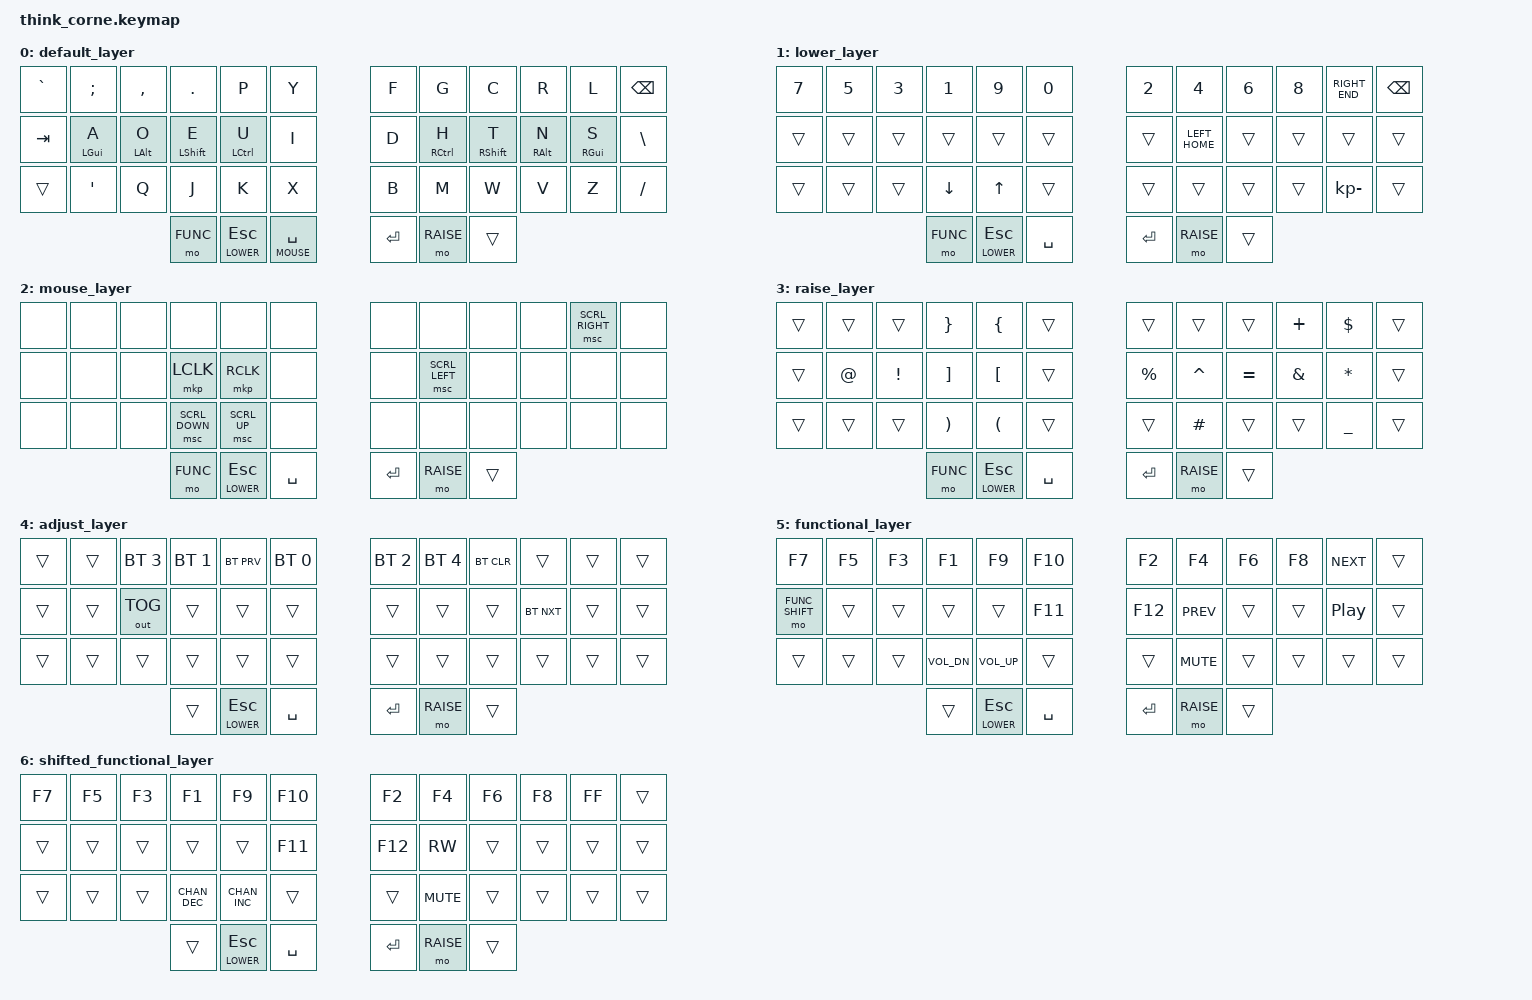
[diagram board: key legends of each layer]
/*
 * Copyright (c) 2020 The ZMK Contributors
 *
 * SPDX-License-Identifier: MIT
 */

#include <behaviors.dtsi>
#include <dt-bindings/zmk/keys.h>
#include <dt-bindings/zmk/bt.h>
#include <dt-bindings/zmk/rgb.h>
#include <dt-bindings/zmk/ext_power.h>
#include <dt-bindings/zmk/outputs.h>

/* Layers */
#define DEFAULT       0
#define LOWER         1
#define MOUSE         2
#define RAISE         3
#define ADJUST        4
#define FUNC          5
#define FUNC_SHIFT    6

/* Layer active when mouse is active? */
#define MOUSE_TP DEFAULT

/* Enable keymap features that require forks */
#define HAS_UROB
#define HAS_MOUSE_KEYS
#define HAS_MOUSE_TP
// #define HAS_CAPSLOCK

// Personal includes
#ifdef HAS_MOUSE_KEYS
     #include "includes/mouse_keys.dtsi"
#endif

#ifdef HAS_MOUSE_TP
     #include "includes/mouse_tp.dtsi"
#endif

/ {
         conditional_layers {
            compatible = "zmk,conditional-layers";
            tri_layer {
               if-layers = <LOWER RAISE>;
               then-layer = <ADJUST>;
            };
        };

        behaviors {
                hm: homerow_mods {
                    compatible = "zmk,behavior-hold-tap";
                    #binding-cells = <2>;
                    tapping-term-ms = <150>;
                    quick-tap-ms = <0>;
                    flavor = "tap-preferred";
                    bindings = <&kp>, <&kp>;
                };
                LEFT_HOME: tap_dance_left_home {
                    compatible = "zmk,behavior-tap-dance";
                    #binding-cells = <0>;
                    tapping-term-ms = <130>;
                    bindings = <&kp LEFT>, <&kp HOME>;
                };
                RIGHT_END: tap_dance_right_end {
                    compatible = "zmk,behavior-tap-dance";
                    #binding-cells = <0>;
                    tapping-term-ms = <130>;
                    bindings = <&kp RIGHT>, <&kp END>;
                };
        };

        keymap {
                compatible = "zmk,keymap";

                default_layer {
                        bindings = <
   &kp GRAVE  &kp SEMI   &kp COMMA  &kp PERIOD  &kp P       &kp Y                            &kp F       &kp G       &kp C       &kp R      &kp L      &kp BSPC
   &kp TAB    &hm LGUI A &hm LALT O &hm LSHFT E &hm LCTRL U &kp I                            &kp D       &hm RCTRL H &hm RSHFT T &hm RALT N &hm RGUI S &kp BSLH
   &trans     &kp SQT    &kp Q      &kp J       &kp K       &kp X                            &kp B       &kp M       &kp W       &kp V      &kp Z      &kp FSLH
                                                &mo FUNC    &lt LOWER ESC  &lt MOUSE SPACE   &kp RET     &mo RAISE   &trans
                        >;
                };
                lower_layer {
                        bindings = <
   &kp N7    &kp N5    &kp N3    &kp N1       &kp N9        &kp N0       &kp N2     &kp N4     &kp N6    &kp N8    &RIGHT_END   &kp BSPC
   &trans    &trans    &trans    &trans       &trans        &trans       &trans     &LEFT_HOME &trans    &trans    &trans       &trans
   &trans    &trans    &trans    &kp DOWN     &kp UP        &trans       &trans     &trans     &trans    &trans    &kp KP_MINUS &trans
                                 &mo FUNC     &lt LOWER ESC &kp SPACE    &kp RET    &mo RAISE  &trans
                        >;
                };
                mouse_layer {
                        bindings = <
   &none    &none    &none    &none           &none         &none      &none     &none             &none    &none    &msc SCRL_RIGHT  &none
   &none    &none    &none    &mkp LCLK       &mkp RCLK     &none      &none     &msc SCRL_LEFT    &none    &none    &none            &none
   &none    &none    &none    &msc SCRL_DOWN  &msc SCRL_UP  &none      &none     &none             &none    &none    &none            &none
                              &mo FUNC        &lt LOWER ESC &kp SPACE  &kp RET   &mo RAISE         &trans
                        >;
                };
                raise_layer {
                        bindings = <
   &trans &trans &trans   &kp RBRC &kp LBRC      &trans      &trans    &trans    &trans    &kp PLUS &kp DLLR  &trans
   &trans &kp AT &kp EXCL &kp RBKT &kp LBKT      &trans      &kp PRCNT &kp CARET &kp EQUAL &kp AMPS &kp ASTRK &trans
   &trans &trans &trans   &kp RPAR &kp LPAR      &trans      &trans    &kp HASH  &trans    &trans   &kp UNDER &trans
                          &mo FUNC &lt LOWER ESC &kp SPACE   &kp RET   &mo RAISE &trans
                        >;
                };
                adjust_layer {
                        bindings = <
   &trans &trans &bt BT_SEL 3 &bt BT_SEL 1 &bt BT_PRV    &bt BT_SEL 0      &bt BT_SEL 2 &bt BT_SEL 4 &bt BT_CLR &trans     &trans  &trans
   &trans &trans &out OUT_TOG &trans       &trans        &trans            &trans       &trans       &trans     &bt BT_NXT &trans  &trans
   &trans &trans &trans       &trans       &trans        &trans            &trans       &trans       &trans     &trans     &trans  &trans
                              &trans       &lt LOWER ESC &kp SPACE         &kp RET      &mo RAISE    &trans
                        >;
                };
                functional_layer {
                        bindings = <
   &kp F7         &kp F5 &kp F3 &kp F1         &kp F9        &kp F10     &kp F2    &kp F4      &kp F6 &kp F8 &kp C_NEXT &trans
   &mo FUNC_SHIFT &trans &trans &trans         &trans        &kp F11     &kp F12   &kp C_PREV  &trans &trans &kp C_PP   &trans
   &trans         &trans &trans &kp C_VOL_DN   &kp C_VOL_UP  &trans      &trans    &kp C_MUTE  &trans &trans &trans     &trans
                         &trans &lt LOWER ESC  &kp SPACE     &kp RET     &mo RAISE &trans
                        >;
                };
                shifted_functional_layer {
                        bindings = <
   &kp F7 &kp F5 &kp F3 &kp F1         &kp F9         &kp F10     &kp F2    &kp F4      &kp F6 &kp F8 &kp C_FF &trans
   &trans &trans &trans &trans         &trans         &kp F11     &kp F12   &kp C_RW    &trans &trans &trans   &trans
   &trans &trans &trans &kp C_CHAN_DEC &kp C_CHAN_INC &trans      &trans    &kp C_MUTE  &trans &trans &trans   &trans
                        &trans         &lt LOWER ESC  &kp SPACE   &kp RET   &mo RAISE &trans
                        >;
                };
        };
};

/* vim: set ft=c tw=174: */
